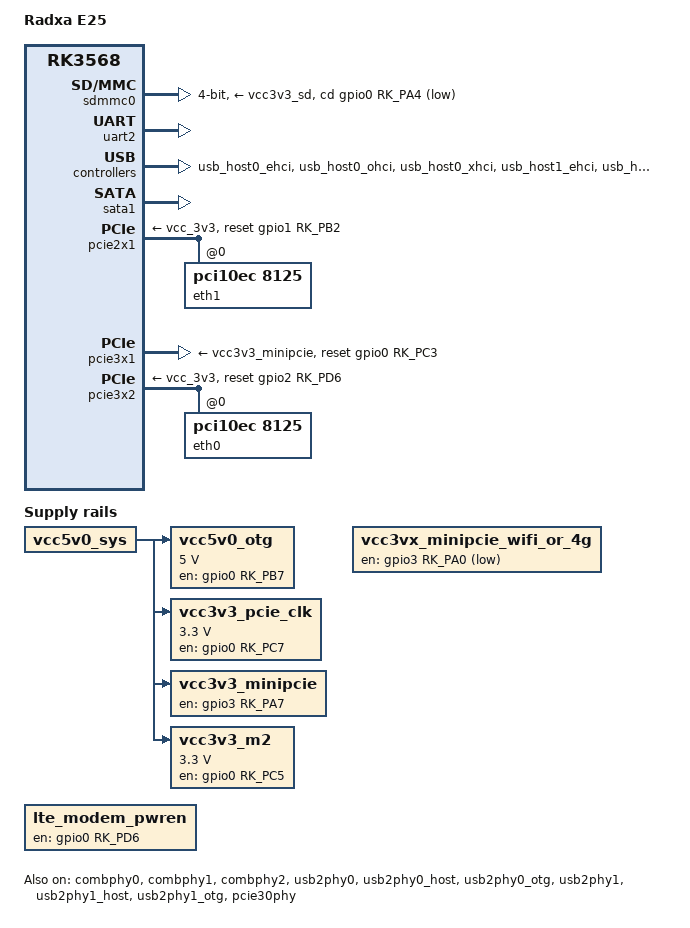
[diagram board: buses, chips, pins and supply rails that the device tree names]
// SPDX-License-Identifier: (GPL-2.0+ OR MIT)
/*
 * Copyright (c) 2020 Rockchip Electronics Co., Ltd.
 * Copyright (c) 2021 Radxa Limited.
 *
 */

/dts-v1/;

#include "rk3568-radxa-rock-3-compute-module-plus.dtsi"

/ {
	model = "Radxa E25";
	compatible = "radxa,e25", "rockchip,rk3568";

	vcc5v0_otg: vcc5v0-otg-regulator {
		compatible = "regulator-fixed";
		regulator-name = "vcc5v0_otg";
		regulator-min-microvolt = <5000000>;
		regulator-max-microvolt = <5000000>;
		//regulator-always-on;
		//regulator-boot-on;

		enable-active-high;
		gpio = <&gpio0 RK_PB7 GPIO_ACTIVE_HIGH>;
		pinctrl-names = "default";
		pinctrl-0 = <&vcc5v0_otg_en>;
		vin-supply = <&vcc5v0_sys>;
	};

	/* VCC3V3_PI6C_05: for pcie clock source: AU5411 */
	vcc3v3_pcie_clk: vcc3v3-pcie-clk {
		compatible = "regulator-fixed";
		regulator-name = "vcc3v3-pcie-clk";
		regulator-min-microvolt = <3300000>;
		regulator-max-microvolt = <3300000>;
		regulator-always-on;
		regulator-boot-on;

		enable-active-high;
		gpios = <&gpio0 RK_PC7 GPIO_ACTIVE_HIGH>;
		pinctrl-names = "default";
		pinctrl-0 = <&vcc3v3_pcie_clk_en>;
		vin-supply = <&vcc5v0_sys>;
	};

	/* low:3.3v:wifi, high:3.8v:4G (default low) */
	vcc3vx_minipcie_wifi_or_4g: vcc3vx-minipcie-wifi-or-4g {
		compatible = "regulator-fixed";
		regulator-name = "vcc3vx_minipcie_wifi_or_4g";
		regulator-always-on;
		regulator-boot-on;

		enable-active-low;
		gpio = <&gpio3 RK_PA0 GPIO_ACTIVE_LOW>;
		pinctrl-names = "default";
		pinctrl-0 = <&vcc3vx_minipcie_wifi_or_4g_en>;
	};

	/* vcc3v3 to minipcie */
	vcc3v3_minipcie: vcc3v3-minipcie {
		compatible = "regulator-fixed";
		regulator-name = "vcc3v3_minipcie";

		enable-active-high;
		gpio = <&gpio3 RK_PA7 GPIO_ACTIVE_HIGH>;
		pinctrl-names = "default";
		pinctrl-0 = <&vcc3v3_minipcie_en>;
		vin-supply = <&vcc5v0_sys>;
	};

	/* vcc3v3 to m.2 ngff */
	vcc3v3_m2: vcc3v3-m2 {
		compatible = "regulator-fixed";
		regulator-name = "vcc3v3_m2";
		regulator-min-microvolt = <3300000>;
		regulator-max-microvolt = <3300000>;
		regulator-boot-on;
		regulator-always-on;

		enable-active-high;
		gpio = <&gpio0 RK_PC5 GPIO_ACTIVE_HIGH>;
		pinctrl-names = "default";
		pinctrl-0 = <&vcc3v3_m2_en>;
		vin-supply = <&vcc5v0_sys>;
	};

	lte_modem_pwren: lte_modem_pwren {
		compatible = "regulator-fixed";
		regulator-name = "lte_modem_pwren";
		regulator-always-on;
		regulator-boot-on;

		enable-active-high;
		gpio = <&gpio0 RK_PD6 GPIO_ACTIVE_HIGH>;

		pinctrl-names = "default";
		pinctrl-0 = <&em05_power_en>;
	};
/*
	em05_modem: em05-modem {
		compatible = "lte-em05-modem-platdata";
		pinctrl-names = "default";
		pinctrl-0 = <&em05_power_en &em05_airplane_mode &em05_reset>;
		em05,power-gpio = <&gpio0 RK_PD6 GPIO_ACTIVE_HIGH>;
		em05,reset-gpio = <&gpio0 RK_PD5 GPIO_ACTIVE_HIGH>;
		em05,airplane-gpio = <&gpio1 RK_PA4 GPIO_ACTIVE_HIGH>;
	};
*/
	gpio_leds: gpio-leds {
		led_surround_red: led-surround-red {
			gpios = <&gpio0 RK_PC0 GPIO_ACTIVE_HIGH>;
			label = "surround:red";
			pinctrl-0 = <&led_surround_red_en>;
			pinctrl-names = "led_surround_red";
   	    	};

       		led_surround_green: led-surround-green {
			gpios = <&gpio0 RK_PC1 GPIO_ACTIVE_HIGH>;
			label = "surround:green";
			linux,default-trigger = "default-on";
			default-state = "on";
			pinctrl-0 = <&led_surround_green_en>;
			pinctrl-names = "led_surround_green";
       		};

       		led_surround_blue: led-surround-blue {
			gpios = <&gpio4 RK_PC5 GPIO_ACTIVE_HIGH>;
			label = "surround:blue";
			pinctrl-0 = <&led_surround_blue_en>;
			pinctrl-names = "led_surround_blue";
       		};
	};
};

&combphy0 {
	status = "okay";
};

&combphy1 {
	rockchip,dis-u3otg1-port;
	status = "okay";
};

&combphy2 {
	status = "okay";
};

//sdcard
&sdmmc0 {
	max-frequency = <50000000>;
	bus-width = <4>;
	cap-sd-highspeed;
	//sd-uhs-sdr104;
	cd-gpios = <&gpio0 RK_PA4 GPIO_ACTIVE_LOW>;
	disable-wp;
	pinctrl-names = "default";
	pinctrl-0 = <&sdmmc0_bus4 &sdmmc0_clk &sdmmc0_cmd &sdmmc0_det>;
	vmmc-supply = <&vcc3v3_sd>;
	vqmmc-supply = <&vccio_sd>;
	status = "okay";
};

&uart2 {
	status = "okay";
};

&usb_host0_ehci {
	status = "okay";
};

&usb_host0_ohci {
	status = "okay";
};

&usb_host0_xhci {
	extcon = <&usb2phy0>;
	status = "okay";
};

&usb_host1_ehci {
	status = "okay";
};

&usb_host1_ohci {
	status = "okay";
};

&usb_host1_xhci {
	status = "disabled";
};

&usb2phy0 {
	status = "okay";
};

&usb2phy0_host {
	phy-supply = <&vcc5v0_otg>;
	status = "okay";
};

&usb2phy0_otg {
	phy-supply = <&vcc5v0_otg>;
	status = "okay";
};

&usb2phy1 {
	status = "okay";
};

&usb2phy1_host {
	phy-supply = <&vcc5v0_otg>;
	status = "okay";
};

&usb2phy1_otg {
	phy-supply = <&vcc5v0_otg>;
	status = "okay";
};

&sata1 {
	status = "okay";
};
/*
&gic {
	mbi-ranges = <202 56>, <264 56>;
};
*/
/* rtl8125b eth1 */
&pcie2x1 {
	reset-gpios = <&gpio1 RK_PB2 GPIO_ACTIVE_HIGH>;
	vpcie3v3-supply = <&vcc_3v3>;
	pinctrl-0 = <&pcie20m2_pins>; 
	status = "okay";

	pcie@0 {
		reg = <0x00000000 0 0 0 0>;
		#address-cells = <3>;
		#size-cells = <2>;

		rtl8125_2: pcie-eth@0,0 {
			compatible = "pci10ec,8125";
			label = "eth1";
			reg = <0x000000 0 0 0 0>;

			/* G+: LED0
			 * G-: LED1
			 * Y+: 3v3
			 * Y-: LED2
			 */
			// LED0: active high, link on all speed
			r8125,led0 = <0x102b>;

			// LED1: active low, act on all speed
			r8125,led1 = <0x0200>;

			// LED2: active low, link on 100 + 1000 + 2500
			r8125,led2 = <0x002a>;
		};
	};
};

&pcie30phy {
	data-lanes = <1 2>;
	status = "okay";
};

/* mini pcie */
&pcie3x1 {
	num-lans = <1>;
	reset-gpios = <&gpio0 RK_PC3 GPIO_ACTIVE_HIGH>;
	vpcie3v3-supply = <&vcc3v3_minipcie>;
	pinctrl-0 = <&pcie30x1m0_pins>; 
	status = "okay";
};

/* rtl8125b eth0 */
&pcie3x2 {
	num-lans = <1>;
	reset-gpios = <&gpio2 RK_PD6 GPIO_ACTIVE_HIGH>;
	vpcie3v3-supply = <&vcc_3v3>;
	pinctrl-0 = <&pcie30x2m1_pins>; 
	status = "okay";

	pcie@0 {
		reg = <0x00200000 0 0 0 0>;
		#address-cells = <3>;
		#size-cells = <2>;

		rtl8125_1: pcie-eth@20,0 {
			compatible = "pci10ec,8125";
			label = "eth0";
			reg = <0x000000 0 0 0 0>;

			/* G+: LED0
			 * G-: LED1
			 * Y+: 3v3
			 * Y-: LED2
			 */
			// LED0: active high, link on all speed
			r8125,led0 = <0x102b>;

			// LED1: active low, act on all speed
			r8125,led1 = <0x0200>;

			// LED2: active low, link on 100 + 1000 + 2500
			r8125,led2 = <0x002a>;
		};
	};
};

&pwm1 {
	status = "disabled";
	pinctrl-names = "active";
	pinctrl-0 = <&pwm1m0_pins>;
};

&pwm2 {
	status = "disabled";
	pinctrl-names = "active";
	pinctrl-0 = <&pwm2m0_pins>;
};

&pwm12 {
	status = "disabled";
	pinctrl-names = "active";
	pinctrl-0 = <&pwm12m1_pins>;
};

&pinctrl {
	usb {
		vcc5v0_otg_en: vcc5v0-otg-en {
			rockchip,pins = <0 RK_PB7 RK_FUNC_GPIO &pcfg_pull_none>;
		};
	};

	pcie {
		vcc3v3_pcie_clk_en: vcc3v3-pcie-clk-en {
			rockchip,pins = <0 RK_PC7 RK_FUNC_GPIO &pcfg_pull_none>;
		};

		vcc3vx_minipcie_wifi_or_4g_en: vcc3vx-minipcie-wifi-or-4g-en {
			rockchip,pins = <3 RK_PA0 RK_FUNC_GPIO &pcfg_pull_none>;
		};

		vcc3v3_minipcie_en: vcc3v3-minipcie-en {
			rockchip,pins = <3 RK_PA7 RK_FUNC_GPIO &pcfg_pull_none>;
		};

		vcc3v3_m2_en: vcc3v3-m2-en {
			rockchip,pins = <0 RK_PC5 RK_FUNC_GPIO &pcfg_pull_none>;
		};
	};

	lte-em05-modem {
		em05_airplane_mode: em05-airplane-mode {
			rockchip,pins = <1 RK_PA4 RK_FUNC_GPIO &pcfg_pull_none>;
		};

		em05_power_en: em05-power-en {
			rockchip,pins = <0 RK_PD6 RK_FUNC_GPIO &pcfg_pull_none>;
		};

		em05_reset: em05-reset {
			rockchip,pins = <0 RK_PD5 RK_FUNC_GPIO &pcfg_pull_none>;
		};
	};

	leds {
		led_surround_red_en: led-surround-red-en {
			rockchip,pins = <0 RK_PC0 RK_FUNC_GPIO &pcfg_pull_none>;
		};

		led_surround_green_en: led-surround-green-en {
			rockchip,pins = <0 RK_PC1 RK_FUNC_GPIO &pcfg_pull_none>;
		};

		led_surround_blue_en: led-surround-blue-en {
			rockchip,pins = <4 RK_PC5 RK_FUNC_GPIO &pcfg_pull_none>;
		};
	};
};

&led_user {
	linux,default-trigger = "none";
	default-state = "off";
};
